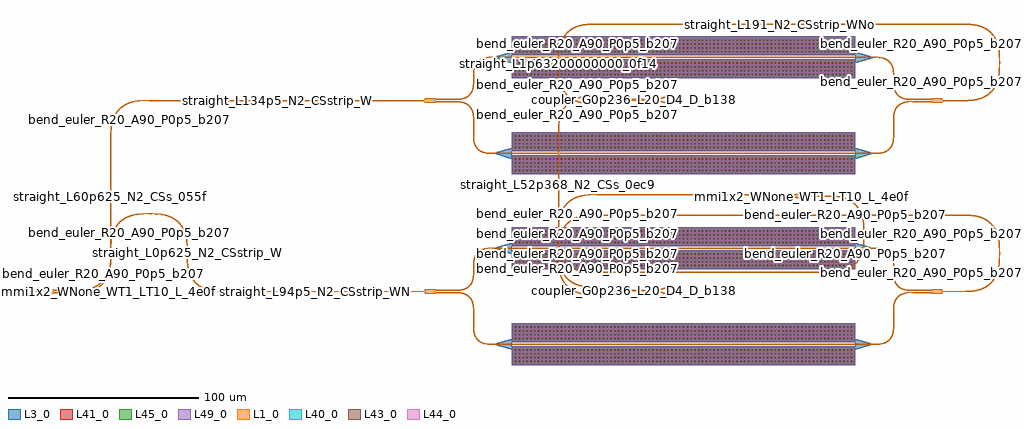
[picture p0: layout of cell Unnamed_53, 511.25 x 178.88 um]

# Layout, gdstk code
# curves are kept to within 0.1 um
from math import pi, radians
import gdstk
lib = gdstk.Library(unit=1e-6, precision=1e-09)
def R(c, l, rs):  # rectangles x0, y0, x1, y1
    for r in rs: c.add(gdstk.rectangle(r[:2], r[2:], *l))
def P(c, l, *ps):  # polygons
    for p in ps: c.add(gdstk.Polygon(p, *l))
L1_0 = (1, 0)
L3_0 = (3, 0)
L40_0 = (40, 0)
L41_0 = (41, 0)
L43_0 = (43, 0)
L44_0 = (44, 0)
L45_0 = (45, 0)
L49_0 = (49, 0)

bend_euler_r20_a90_p0p5_ = lib.new_cell('bend_euler_R20_A90_P0p5_b207852f')
P(bend_euler_r20_a90_p0p5_, L1_0, [(0,-0.25),(0,0.25),(3.237,0.286),(5.516,0.43),(7.635,0.732),(9.702,1.255),(11.313,1.88),(12.72,2.627),(14.032,3.532),(15.232,4.58),(16.386,5.864),(17.373,7.28),(18.12,8.687),(18.745,10.298),(19.268,12.365),(19.57,14.484),(19.714,16.763),(19.75,20),(20.25,20),(20.209,16.61),(20.054,14.299),(19.785,12.405),(19.342,10.539),(18.742,8.856),(17.941,7.257),(16.947,5.77),(15.68,4.32),(14.23,3.053),(12.743,2.059),(11.144,1.258),(9.461,0.658),(7.595,0.215),(5.701,-0.054),(3.39,-0.209)])

coupler_g0p236_l20_d4_d_ = lib.new_cell('coupler_G0p236_L20_D4_D_b138340a')
P(coupler_g0p236_l20_d4_d_, L1_0, [(-10,-1.882),(-10,-1.382),(-8.633,-1.335),(-7.417,-1.193),(-6.249,-0.938),(-3.065,-0.019),(-1.652,0.182),(-0.303,0.248),(21.144,0.219),(23.349,-0.08),(27.222,-1.159),(28.511,-1.326),(30,-1.382),(30,-1.882),(27.877,-1.764),(26.291,-1.466),(23.059,-0.528),(20.854,-0.267),(-0.297,-0.252),(-1.725,-0.327),(-3.059,-0.528),(-6.034,-1.397),(-7.335,-1.686),(-8.597,-1.834)],
  [(0,0.486),(-1.403,0.534),(-2.665,0.682),(-3.796,0.925),(-7.126,1.877),(-8.511,2.062),(-10,2.118),(-10,2.618),(-8.597,2.57),(-7.335,2.422),(-6.204,2.179),(-2.874,1.227),(-1.489,1.042),(0,0.986),(21.116,1.016),(23.24,1.303),(27.032,2.368),(28.348,2.55),(30,2.618),(30,2.118),(28.511,2.062),(27.222,1.895),(26.086,1.629),(23.532,0.858),(21.403,0.534)])

mmi1x2_wnone_wt1_lt10_l_ = lib.new_cell('mmi1x2_WNone_WT1_LT10_L_4e0f7121')
P(mmi1x2_wnone_wt1_lt10_l_, L1_0, [(0,-1.25),(0,-0.5),(-10,-0.25),(-10,0.25),(0,0.5),(0,1.25),(5.5,1.25),(5.5,1.125),(15.5,0.875),(15.5,0.375),(5.5,0.125),(5.5,-0.125),(15.5,-0.375),(15.5,-0.875),(5.5,-1.125),(5.5,-1.25)])

bend_euler_rnone_a90_p0_ = lib.new_cell('bend_euler_RNone_A90_P0_d7c3a5a9')
P(bend_euler_rnone_a90_p0_, L1_0, [(0,-0.25),(0,0.25),(2.881,0.353),(3.952,0.52),(4.99,0.806),(6.431,1.505),(7.575,2.425),(8.495,3.569),(9.194,5.01),(9.48,6.048),(9.647,7.119),(9.75,10),(10.25,10),(10.158,7.205),(9.797,5.254),(9.457,4.312),(9.066,3.545),(8.5,2.715),(7.928,2.072),(7.285,1.5),(6.455,0.934),(5.688,0.543),(4.746,0.203),(2.795,-0.158)])

straight_l2_n2_csstrip_w = lib.new_cell('straight_L2_N2_CSstrip_WNone')
R(straight_l2_n2_csstrip_w, L1_0, [(0,-0.25,2,0.25)])

straight_l7_n2_csstrip_w = lib.new_cell('straight_L7_N2_CSstrip_WNone')
R(straight_l7_n2_csstrip_w, L1_0, [(0,-0.25,7,0.25)])

straight_l180_n2_csstrip = lib.new_cell('straight_L180_N2_CSstrip_WNone')
R(straight_l180_n2_csstrip, L1_0, [(0,-0.25,180,0.25)])

taper_strip_to_ridge_l1_ = lib.new_cell('taper_strip_to_ridge_L1_3a86af41')
R(taper_strip_to_ridge_l1_, L1_0, [(0,-0.25,10,0.25)])
P(taper_strip_to_ridge_l1_, L3_0, [(10,-3),(0,-0.075),(0,0.075),(10,3)])

compass_s180_10_lslab90_ = lib.new_cell('compass_S180_10_LSLAB90_05ffcaa3')
R(compass_s180_10_lslab90_, L3_0, [(-90,-5,90,5)])

compass_s180_10_lm1_ptn_ = lib.new_cell('compass_S180_10_LM1_PTN_a9660620')
R(compass_s180_10_lm1_ptn_, L41_0, [(-90,-5,90,5)])

compass_s180_10_lm2_ptn_ = lib.new_cell('compass_S180_10_LM2_PTN_655a0ab1')
R(compass_s180_10_lm2_ptn_, L45_0, [(-90,-5,90,5)])

compass_s180_10_lmtop_p_ = lib.new_cell('compass_S180_10_LMTOP_P_11bbb343')
R(compass_s180_10_lmtop_p_, L49_0, [(-90,-5,90,5)])

via_s0p7_0p7_snone_gnon_ = lib.new_cell('via_S0p7_0p7_SNone_GNon_9f66867f')
R(via_s0p7_0p7_snone_gnon_, L40_0, [(-0.35,-0.35,0.35,0.35)])

c_via_s0p7_0p7_snone_gnon_ = lib.new_cell('via_S0p7_0p7_SNone_GNon_d0c93b95')
R(c_via_s0p7_0p7_snone_gnon_, L44_0, [(-0.35,-0.35,0.35,0.35)])

c_via_s0p7_0p7_snone_gnon__ = lib.new_cell('via_S0p7_0p7_SNone_GNon_a794b952')
R(c_via_s0p7_0p7_snone_gnon__, L43_0, [(-0.35,-0.35,0.35,0.35)])

via_stack_s180_10_lslab_ = lib.new_cell('via_stack_S180_10_LSLAB_6f7f59c7')
via_stack_s180_10_lslab_.add(gdstk.Reference(compass_s180_10_lslab90_, (0,0)))
via_stack_s180_10_lslab_.add(gdstk.Reference(compass_s180_10_lm1_ptn_, (0,0)))
via_stack_s180_10_lslab_.add(gdstk.Reference(compass_s180_10_lm2_ptn_, (0,0)))
via_stack_s180_10_lslab_.add(gdstk.Reference(compass_s180_10_lmtop_p_, (0,0)))
r = gdstk.Reference(via_s0p7_0p7_snone_gnon_, (-88,-3)); r.repetition = gdstk.Repetition(89, 4, v1=(2,0), v2=(0,2)); via_stack_s180_10_lslab_.add(r)
r = gdstk.Reference(c_via_s0p7_0p7_snone_gnon_, (-87,-2)); r.repetition = gdstk.Repetition(88, 3, v1=(2,0), v2=(0,2)); via_stack_s180_10_lslab_.add(r)
r = gdstk.Reference(c_via_s0p7_0p7_snone_gnon__, (-88,-3)); r.repetition = gdstk.Repetition(89, 4, v1=(2,0), v2=(0,2)); via_stack_s180_10_lslab_.add(r)

straight_pin_l200_csstr_ = lib.new_cell('straight_pin_L200_CSstr_ff9b3a61')
straight_pin_l200_csstr_.add(gdstk.Reference(straight_l180_n2_csstrip, (0,0)))
straight_pin_l200_csstr_.add(gdstk.Reference(taper_strip_to_ridge_l1_, (-10,0)))
straight_pin_l200_csstr_.add(gdstk.Reference(taper_strip_to_ridge_l1_, (190,0), rotation=pi))
straight_pin_l200_csstr_.add(gdstk.Reference(via_stack_s180_10_lslab_, (90,6)))
straight_pin_l200_csstr_.add(gdstk.Reference(via_stack_s180_10_lslab_, (90,-6)))

mzi_dl10_ly2_lx200_bben_ = lib.new_cell('mzi_DL10_LY2_LX200_Bben_ff43f7ce')
mzi_dl10_ly2_lx200_bben_.add(gdstk.Reference(mmi1x2_wnone_wt1_lt10_l_, (0,0)))
mzi_dl10_ly2_lx200_bben_.add(gdstk.Reference(bend_euler_rnone_a90_p0_, (15.5,-0.625), x_reflection=True))
mzi_dl10_ly2_lx200_bben_.add(gdstk.Reference(bend_euler_rnone_a90_p0_, (25.5,-17.625), rotation=3*pi/2))
mzi_dl10_ly2_lx200_bben_.add(gdstk.Reference(bend_euler_rnone_a90_p0_, (15.5,0.625)))
mzi_dl10_ly2_lx200_bben_.add(gdstk.Reference(bend_euler_rnone_a90_p0_, (35.5,22.625), rotation=pi))
mzi_dl10_ly2_lx200_bben_.add(gdstk.Reference(bend_euler_rnone_a90_p0_, (245.5,12.625), rotation=pi/2))
mzi_dl10_ly2_lx200_bben_.add(gdstk.Reference(bend_euler_rnone_a90_p0_, (245.5,10.625), rotation=3*pi/2))
mzi_dl10_ly2_lx200_bben_.add(gdstk.Reference(bend_euler_rnone_a90_p0_, (235.5,-27.625)))
mzi_dl10_ly2_lx200_bben_.add(gdstk.Reference(bend_euler_rnone_a90_p0_, (255.5,-0.625), rotation=pi))
mzi_dl10_ly2_lx200_bben_.add(gdstk.Reference(straight_l2_n2_csstrip_w, (25.5,10.625), rotation=pi/2))
mzi_dl10_ly2_lx200_bben_.add(gdstk.Reference(straight_l7_n2_csstrip_w, (25.5,-10.625), rotation=3*pi/2))
mzi_dl10_ly2_lx200_bben_.add(gdstk.Reference(straight_pin_l200_csstr_, (45.5,22.625)))
mzi_dl10_ly2_lx200_bben_.add(gdstk.Reference(straight_pin_l200_csstr_, (45.5,-27.625)))
mzi_dl10_ly2_lx200_bben_.add(gdstk.Reference(mmi1x2_wnone_wt1_lt10_l_, (271,0), rotation=pi, x_reflection=True))
mzi_dl10_ly2_lx200_bben_.add(gdstk.Reference(straight_l2_n2_csstrip_w, (245.5,10.625), rotation=pi/2))
mzi_dl10_ly2_lx200_bben_.add(gdstk.Reference(straight_l7_n2_csstrip_w, (245.5,-17.625), rotation=pi/2))

straight_l0p625_n2_csstr = lib.new_cell('straight_L0p625_N2_CSstrip_WNone')
R(straight_l0p625_n2_csstr, L1_0, [(0,-0.25,0.625,0.25)])

straight_l120_n2_csstrip = lib.new_cell('straight_L120_N2_CSstrip_WNone')
R(straight_l120_n2_csstrip, L1_0, [(0,-0.25,120,0.25)])

straight_l134p5_n2_csstr = lib.new_cell('straight_L134p5_N2_CSstrip_WNone')
R(straight_l134p5_n2_csstr, L1_0, [(0,-0.25,134.5,0.25)])

straight_l191_n2_csstrip = lib.new_cell('straight_L191_N2_CSstrip_WNone')
R(straight_l191_n2_csstrip, L1_0, [(0,-0.25,191,0.25)])

straight_l1p632_n2_csstr = lib.new_cell('straight_L1p632_N2_CSstrip_WNone')
R(straight_l1p632_n2_csstr, L1_0, [(0,-0.25,1.632,0.25)])

straight_l52p368_n2_css_ = lib.new_cell('straight_L52p368_N2_CSs_0ec94eb3')
R(straight_l52p368_n2_css_, L1_0, [(0,-0.25,52.368,0.25)])

straight_l60p625_n2_css_ = lib.new_cell('straight_L60p625_N2_CSs_055fff63')
R(straight_l60p625_n2_css_, L1_0, [(0,-0.25,60.625,0.25)])

straight_l8p257_n2_csstr = lib.new_cell('straight_L8p257_N2_CSstrip_WNone')
R(straight_l8p257_n2_csstr, L1_0, [(0,-0.25,8.257,0.25)])

straight_l94p5_n2_csstri = lib.new_cell('straight_L94p5_N2_CSstrip_WNone')
R(straight_l94p5_n2_csstri, L1_0, [(0,-0.25,94.5,0.25)])

unnamed_53 = lib.new_cell('Unnamed_53')
unnamed_53.add(gdstk.Reference(bend_euler_r20_a90_p0p5_, (270,120), rotation=pi/2, x_reflection=True))
unnamed_53.add(gdstk.Reference(bend_euler_r20_a90_p0p5_, (270,20), rotation=pi/2, x_reflection=True))
unnamed_53.add(gdstk.Reference(bend_euler_r20_a90_p0p5_, (270,22.368), rotation=3*pi/2))
unnamed_53.add(gdstk.Reference(bend_euler_r20_a90_p0p5_, (270,82.368), rotation=pi/2, x_reflection=True))
unnamed_53.add(gdstk.Reference(bend_euler_r20_a90_p0p5_, (290,10), rotation=pi, x_reflection=True))
unnamed_53.add(gdstk.Reference(bend_euler_r20_a90_p0p5_, (290,50.625), rotation=pi))
unnamed_53.add(gdstk.Reference(bend_euler_r20_a90_p0p5_, (290,98.368), rotation=pi, x_reflection=True))
unnamed_53.add(gdstk.Reference(bend_euler_r20_a90_p0p5_, (290,-1.632), rotation=pi, x_reflection=True))
unnamed_53.add(gdstk.Reference(bend_euler_r20_a90_p0p5_, (35.5,19.375), rotation=3*pi/2, x_reflection=True))
unnamed_53.add(gdstk.Reference(bend_euler_r20_a90_p0p5_, (35.5,20.625), rotation=3*pi/2, x_reflection=True))
unnamed_53.add(gdstk.Reference(bend_euler_r20_a90_p0p5_, (410,50), x_reflection=True))
unnamed_53.add(gdstk.Reference(bend_euler_r20_a90_p0p5_, (430,30), rotation=3*pi/2, x_reflection=True))
unnamed_53.add(gdstk.Reference(bend_euler_r20_a90_p0p5_, (481,140), x_reflection=True))
unnamed_53.add(gdstk.Reference(bend_euler_r20_a90_p0p5_, (481,40), x_reflection=True))
unnamed_53.add(gdstk.Reference(bend_euler_r20_a90_p0p5_, (501,120), rotation=3*pi/2, x_reflection=True))
unnamed_53.add(gdstk.Reference(bend_euler_r20_a90_p0p5_, (501,20), rotation=3*pi/2, x_reflection=True))
unnamed_53.add(gdstk.Reference(bend_euler_r20_a90_p0p5_, (55.5,100), rotation=pi))
unnamed_53.add(gdstk.Reference(bend_euler_r20_a90_p0p5_, (55.5,40.625), rotation=pi))
unnamed_53.add(gdstk.Reference(bend_euler_r20_a90_p0p5_, (75.5,20.625), rotation=pi/2))
unnamed_53.add(gdstk.Reference(bend_euler_r20_a90_p0p5_, (95.5,0), rotation=pi, x_reflection=True))
unnamed_53.add(gdstk.Reference(coupler_g0p236_l20_d4_d_, (300,0)))
unnamed_53.add(gdstk.Reference(coupler_g0p236_l20_d4_d_, (300,100)))
unnamed_53.add(gdstk.Reference(mmi1x2_wnone_wt1_lt10_l_, (0,0)))
unnamed_53.add(gdstk.Reference(mmi1x2_wnone_wt1_lt10_l_, (400,50), rotation=pi, x_reflection=True))
unnamed_53.add(gdstk.Reference(mzi_dl10_ly2_lx200_bben_, (200,0)))
unnamed_53.add(gdstk.Reference(mzi_dl10_ly2_lx200_bben_, (200,100)))
unnamed_53.add(gdstk.Reference(straight_l0p625_n2_csstr, (75.5,20), rotation=pi/2))
unnamed_53.add(gdstk.Reference(straight_l120_n2_csstrip, (410,10), rotation=pi))
unnamed_53.add(gdstk.Reference(straight_l134p5_n2_csstr, (55.5,100)))
unnamed_53.add(gdstk.Reference(straight_l191_n2_csstrip, (290,140)))
unnamed_53.add(gdstk.Reference(straight_l191_n2_csstrip, (290,40)))
unnamed_53.add(gdstk.Reference(straight_l1p632_n2_csstr, (270,118.368), rotation=pi/2))
unnamed_53.add(gdstk.Reference(straight_l1p632_n2_csstr, (270,18.368), rotation=pi/2))
unnamed_53.add(gdstk.Reference(straight_l52p368_n2_css_, (270,30), rotation=pi/2))
unnamed_53.add(gdstk.Reference(straight_l60p625_n2_css_, (35.5,80), rotation=3*pi/2))
unnamed_53.add(gdstk.Reference(straight_l8p257_n2_csstr, (270,30.625), rotation=3*pi/2))
unnamed_53.add(gdstk.Reference(straight_l94p5_n2_csstri, (290,50.625)))
unnamed_53.add(gdstk.Reference(straight_l94p5_n2_csstri, (95.5,0)))
unnamed_53.add(gdstk.Label('bend_euler_R20_A90_P0p5_b207852f_270000_120000', (279.875,130.125), layer=206, texttype=0))
unnamed_53.add(gdstk.Label('bend_euler_R20_A90_P0p5_b207852f_270000_20000', (279.875,30.125), layer=206, texttype=0))
unnamed_53.add(gdstk.Label('bend_euler_R20_A90_P0p5_b207852f_270000_22368', (279.875,12.243), layer=206, texttype=0))
unnamed_53.add(gdstk.Label('bend_euler_R20_A90_P0p5_b207852f_270000_82368', (279.875,92.493), layer=206, texttype=0))
unnamed_53.add(gdstk.Label('bend_euler_R20_A90_P0p5_b207852f_290000_10000', (279.875,19.875), layer=206, texttype=0))
unnamed_53.add(gdstk.Label('bend_euler_R20_A90_P0p5_b207852f_290000_50625', (279.875,40.75), layer=206, texttype=0))
unnamed_53.add(gdstk.Label('bend_euler_R20_A90_P0p5_b207852f_290000_98368', (279.875,108.243), layer=206, texttype=0))
unnamed_53.add(gdstk.Label('bend_euler_R20_A90_P0p5_b207852f_290000_m1632', (279.875,8.243), layer=206, texttype=0))
unnamed_53.add(gdstk.Label('bend_euler_R20_A90_P0p5_b207852f_35500_19375', (25.625,9.25), layer=206, texttype=0))
unnamed_53.add(gdstk.Label('bend_euler_R20_A90_P0p5_b207852f_35500_20625', (25.625,10.5), layer=206, texttype=0))
unnamed_53.add(gdstk.Label('bend_euler_R20_A90_P0p5_b207852f_410000_50000', (420.125,40.125), layer=206, texttype=0))
unnamed_53.add(gdstk.Label('bend_euler_R20_A90_P0p5_b207852f_430000_30000', (420.125,19.875), layer=206, texttype=0))
unnamed_53.add(gdstk.Label('bend_euler_R20_A90_P0p5_b207852f_481000_140000', (491.125,130.125), layer=206, texttype=0))
unnamed_53.add(gdstk.Label('bend_euler_R20_A90_P0p5_b207852f_481000_40000', (491.125,30.125), layer=206, texttype=0))
unnamed_53.add(gdstk.Label('bend_euler_R20_A90_P0p5_b207852f_501000_120000', (491.125,109.875), layer=206, texttype=0))
unnamed_53.add(gdstk.Label('bend_euler_R20_A90_P0p5_b207852f_501000_20000', (491.125,9.875), layer=206, texttype=0))
unnamed_53.add(gdstk.Label('bend_euler_R20_A90_P0p5_b207852f_55500_100000', (45.375,90.125), layer=206, texttype=0))
unnamed_53.add(gdstk.Label('bend_euler_R20_A90_P0p5_b207852f_55500_40625', (45.375,30.75), layer=206, texttype=0))
unnamed_53.add(gdstk.Label('bend_euler_R20_A90_P0p5_b207852f_75500_20625', (65.625,30.75), layer=206, texttype=0))
unnamed_53.add(gdstk.Label('bend_euler_R20_A90_P0p5_b207852f_95500_0', (85.375,9.875), layer=206, texttype=0))
unnamed_53.add(gdstk.Label('coupler_G0p236_L20_D4_D_b138340a_300000_0', (310,0.368), layer=206, texttype=0))
unnamed_53.add(gdstk.Label('coupler_G0p236_L20_D4_D_b138340a_300000_100000', (310,100.368), layer=206, texttype=0))
unnamed_53.add(gdstk.Label('mmi1x2_WNone_WT1_LT10_L_4e0f7121_0_0', (2.75,0), layer=206, texttype=0))
unnamed_53.add(gdstk.Label('mmi1x2_WNone_WT1_LT10_L_4e0f7121_400000_50000', (397.25,50), layer=206, texttype=0))
unnamed_53.add(gdstk.Label('mzi_DL10_LY2_LX200_Bben_ff43f7ce_200000_0', (335.5,-2.5), layer=206, texttype=0))
unnamed_53.add(gdstk.Label('mzi_DL10_LY2_LX200_Bben_ff43f7ce_200000_100000', (335.5,97.5), layer=206, texttype=0))
unnamed_53.add(gdstk.Label('straight_L0p625_N2_CSstrip_WNone_75500_20000', (75.5,20.313), layer=206, texttype=0))
unnamed_53.add(gdstk.Label('straight_L120_N2_CSstrip_WNone_410000_10000', (350,10), layer=206, texttype=0))
unnamed_53.add(gdstk.Label('straight_L134p5_N2_CSstrip_WNone_55500_100000', (122.75,100), layer=206, texttype=0))
unnamed_53.add(gdstk.Label('straight_L191_N2_CSstrip_WNone_290000_140000', (385.5,140), layer=206, texttype=0))
unnamed_53.add(gdstk.Label('straight_L191_N2_CSstrip_WNone_290000_40000', (385.5,40), layer=206, texttype=0))
unnamed_53.add(gdstk.Label('straight_L1p63200000000_0f143cfc_270000_118368', (270,119.184), layer=206, texttype=0))
unnamed_53.add(gdstk.Label('straight_L1p63200000000_0f143cfc_270000_18368', (270,19.184), layer=206, texttype=0))
unnamed_53.add(gdstk.Label('straight_L52p368_N2_CSs_0ec94eb3_270000_30000', (270,56.184), layer=206, texttype=0))
unnamed_53.add(gdstk.Label('straight_L60p625_N2_CSs_055fff63_35500_80000', (35.5,49.688), layer=206, texttype=0))
unnamed_53.add(gdstk.Label('straight_L8p257_N2_CSstrip_WNone_270000_30625', (270,26.497), layer=206, texttype=0))
unnamed_53.add(gdstk.Label('straight_L94p5_N2_CSstrip_WNone_290000_50625', (337.25,50.625), layer=206, texttype=0))
unnamed_53.add(gdstk.Label('straight_L94p5_N2_CSstrip_WNone_95500_0', (142.75,0), layer=206, texttype=0))

lib.write_gds('Unnamed_53.gds')
